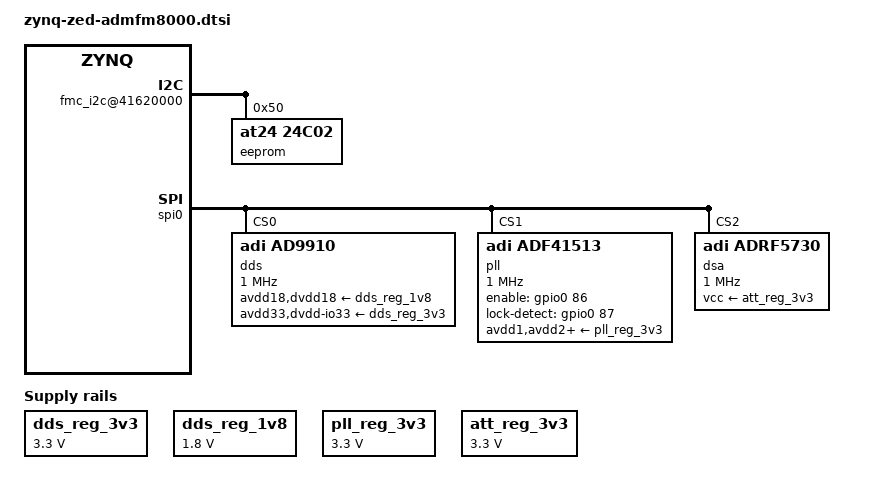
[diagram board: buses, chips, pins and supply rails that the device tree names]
// SPDX-License-Identifier: GPL-2.0
/* Copyright (C) 2025 Analog Devices Inc. */

#include <dt-bindings/gpio/gpio.h>
#include <dt-bindings/input/linux-event-codes.h>
#include <dt-bindings/interrupt-controller/irq.h>

/ {
	dds_clkin: clock-1ghz {
		#clock-cells = <0>;
		compatible = "fixed-clock";
		clock-frequency = <1000000000>; // 1GHz
	};

	dds_reg_3v3: dds-reg-3v3 {
		compatible = "regulator-fixed";
		regulator-name = "dds-3v3";
		regulator-min-microvolt = <3300000>;
		regulator-max-microvolt = <3300000>;
		regulator-always-on;
	};

	dds_reg_1v8: dds-reg-1v8 {
		compatible = "regulator-fixed";
		regulator-name = "dds-1v8";
		regulator-min-microvolt = <1800000>;
		regulator-max-microvolt = <1800000>;
		regulator-always-on;
	};

	pll_clkin: pll-clock {
		#clock-cells = <0>;
		compatible = "fixed-clock";
		clock-frequency = <50000000>; // 50MHz
	};

	pll_reg_3v3: pll-reg-3v3 {
		compatible = "regulator-fixed";
		regulator-name = "pll-3v3";
		regulator-min-microvolt = <3300000>;
		regulator-max-microvolt = <3300000>;
		regulator-always-on;
	};

	att_reg_3v3: att-reg-3v3 {
		compatible = "regulator-fixed";
		regulator-name = "att-3v3";
		regulator-min-microvolt = <3300000>;
		regulator-max-microvolt = <3300000>;
		regulator-always-on;
	};
};

&fpga_axi {
	fmc_i2c@41620000 {
		compatible = "xlnx,axi-iic-1.01.b", "xlnx,xps-iic-2.00.a";
		reg = <0x41620000 0x10000>;
		interrupt-parent = <&intc>;
		interrupts = <0 55 IRQ_TYPE_LEVEL_HIGH>;
		clocks = <&clkc 15>;
		clock-names = "pclk";
		#size-cells = <0>;
		#address-cells = <1>;

		eeprom@50 {
			compatible = "at24,24c02";
			reg = <0x50>;
		};
	};

	axi-sysid-0@45000000 {
		compatible = "adi,axi-sysid-1.00.a";
		reg = <0x45000000 0x10000>;
	};

	tx_dma: dmac@44a10000 {
		compatible = "adi,axi-dmac-1.00.a";
		reg = <0x44a10000 0x1000>;
		#dma-cells = <1>;
		interrupt-parent = <&intc>;
		interrupts = <0 57 IRQ_TYPE_LEVEL_HIGH>;
		clocks = <&clkc 15>; // fclk0

		adi,channels {
			#size-cells = <0>;
			#address-cells = <1>;

			dma_channel: dma-channel@0 {
				reg = <0>;
				adi,source-bus-width = <64>;
				adi,source-bus-type = <0>;
				adi,destination-bus-width = <32>;
				adi,destination-bus-type = <1>;
			};
		};
	};

	dds_backend: axi-ad9910@44a00000 {
		compatible = "adi,axi-ad9910";
		reg = <0x44a00000 0x10000>;
		#reset-cells = <1>;
		dmas = <&tx_dma 0>;
		dma-names = "tx";
		interrupt-parent = <&intc>;
		interrupts = <0 56 IRQ_TYPE_LEVEL_HIGH>;
	};
};

&spi0 {
	status = "okay";

	dds: ad9910@0 {
		compatible = "adi,ad9910";
		reg = <0>;
		avdd18-supply = <&dds_reg_1v8>;
		avdd33-supply = <&dds_reg_3v3>;
		dvdd18-supply = <&dds_reg_1v8>;
		dvdd-io33-supply = <&dds_reg_3v3>;
		spi-max-frequency = <1000000>;
		clocks = <&dds_clkin>;
		resets = <&dds_backend 0>, <&dds_backend 1>;
		reset-names = "dev", "io";
		io-backends = <&dds_backend>;
	};

	pll: adf41513@1 {
		compatible = "adi,adf41513";
		reg = <1>;
		avdd1-supply = <&pll_reg_3v3>;
		avdd2-supply = <&pll_reg_3v3>;
		avdd3-supply = <&pll_reg_3v3>;
		avdd4-supply = <&pll_reg_3v3>;
		avdd5-supply = <&pll_reg_3v3>;
		vp-supply = <&pll_reg_3v3>;
		spi-max-frequency = <1000000>;
		clocks = <&pll_clkin>;
		enable-gpios = <&gpio0 86 GPIO_ACTIVE_HIGH>;
		lock-detect-gpios = <&gpio0 87 GPIO_ACTIVE_HIGH>;
		adi,charge-pump-current-microamp = <4800>;
		adi,power-up-frequency-mhz = <1600>; /* 1.6 GHz */
	};

	dsa: adrf5730@2 {
		compatible = "adi,adrf5730";
		reg = <2>;
		vcc-supply = <&att_reg_3v3>;
		spi-max-frequency = <1000000>;
	};
};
